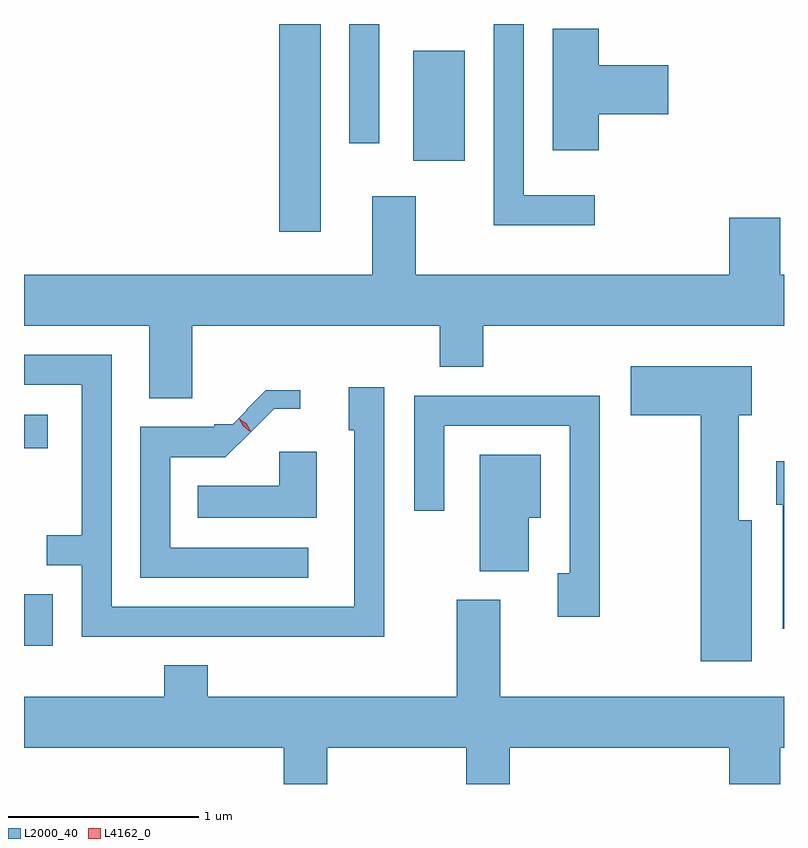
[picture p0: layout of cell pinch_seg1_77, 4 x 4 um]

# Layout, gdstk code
import gdstk
lib = gdstk.Library(unit=1e-6, precision=1e-09)
def R(c, l, rs):  # rectangles x0, y0, x1, y1
    for r in rs: c.add(gdstk.rectangle(r[:2], r[2:], *l))
def P(c, l, *ps):  # polygons
    for p in ps: c.add(gdstk.Polygon(p, *l))
L2000_40 = (2000, 40)
L4162_0 = (4162, 0)

pinch_seg1_77 = lib.new_cell('pinch_seg1_77')
R(pinch_seg1_77, L2000_40, [(211.363,889.013,211.514,889.284), (211.363,890.051,211.489,890.229), (212.706,891.191,212.924,892.285), (213.411,891.566,213.684,892.144), (213.076,891.658,213.234,892.285)])
P(pinch_seg1_77, L2000_40, [(214.368,891.384),(213.994,891.384),(213.994,892.285),(213.836,892.285),(213.836,891.226),(214.368,891.226)],
  [(214.389,891.811),(214.754,891.811),(214.754,892.069),(214.389,892.069),(214.389,892.259),(214.146,892.259),(214.146,891.621),(214.389,891.621)],
  [(212.249,890.696),(213.551,890.696),(213.551,890.481),(213.779,890.481),(213.779,890.696),(215.363,890.696),(215.363,890.964),(215.344,890.964),(215.344,891.264),(215.076,891.264),(215.076,890.964),(213.424,890.964),(213.424,891.379),(213.196,891.379),(213.196,890.964),(211.363,890.964),(211.363,890.696),(212.021,890.696),(212.021,890.316),(212.249,890.316)],
  [(213.259,890.374),(213.071,890.374),(213.071,890.146),(213.101,890.146),(213.101,889.219),(211.824,889.219),(211.824,890.544),(211.363,890.544),(211.363,890.386),(211.666,890.386),(211.666,889.594),(211.483,889.594),(211.483,889.436),(211.666,889.436),(211.666,889.061),(213.259,889.061)],
  [(215.194,889.674),(215.124,889.674),(215.124,890.226),(215.194,890.226),(215.194,890.484),(214.556,890.484),(214.556,890.226),(214.926,890.226),(214.926,888.931),(215.194,888.931)],
  [(212.858,889.529),(212.134,889.529),(212.134,890.006),(212.423,890.006),(212.492,890.075),(212.493,890.074),(212.679,890.26),(212.818,890.26),(212.818,890.358),(212.636,890.358),(212.532,890.254),(212.535,890.251),(212.462,890.178),(212.363,890.178),(212.363,890.164),(211.976,890.164),(211.976,889.371),(212.858,889.371)],
  [(214.394,890.329),(213.416,890.329),(213.416,889.723),(213.574,889.723),(213.574,890.171),(214.236,890.171),(214.236,889.394),(214.171,889.394),(214.171,889.166),(214.394,889.166)],
  [(212.904,890.034),(212.706,890.034),(212.706,889.854),(212.278,889.854),(212.278,889.686),(212.904,889.686)],
  [(214.019,889.686),(214.084,889.686),(214.084,890.019),(213.761,890.019),(213.761,889.406),(214.019,889.406)],
  [(215.363,889.984),(215.321,889.984),(215.321,889.756),(215.356,889.756),(215.356,889.101),(215.363,889.101)],
  [(212.959,888.476),(213.691,888.476),(213.691,888.285),(213.919,888.285),(213.919,888.476),(215.076,888.476),(215.076,888.285),(215.344,888.285),(215.344,888.476),(215.363,888.476),(215.363,888.744),(213.869,888.744),(213.869,889.254),(213.641,889.254),(213.641,888.744),(212.329,888.744),(212.329,888.909),(212.101,888.909),(212.101,888.744),(211.363,888.744),(211.363,888.476),(212.731,888.476),(212.731,888.285),(212.959,888.285)])
P(pinch_seg1_77, L4162_0, [(212.555,890.139),(212.517,890.167),(212.493,890.209),(212.493,890.21),(212.494,890.21),(212.532,890.181),(212.556,890.14),(212.556,890.139)],
  [(212.554,890.145),(212.519,890.169),(212.498,890.206),(212.498,890.206),(212.499,890.206),(212.534,890.183),(212.555,890.146),(212.555,890.145)])

lib.write_gds('pinch_seg1_77.gds')
